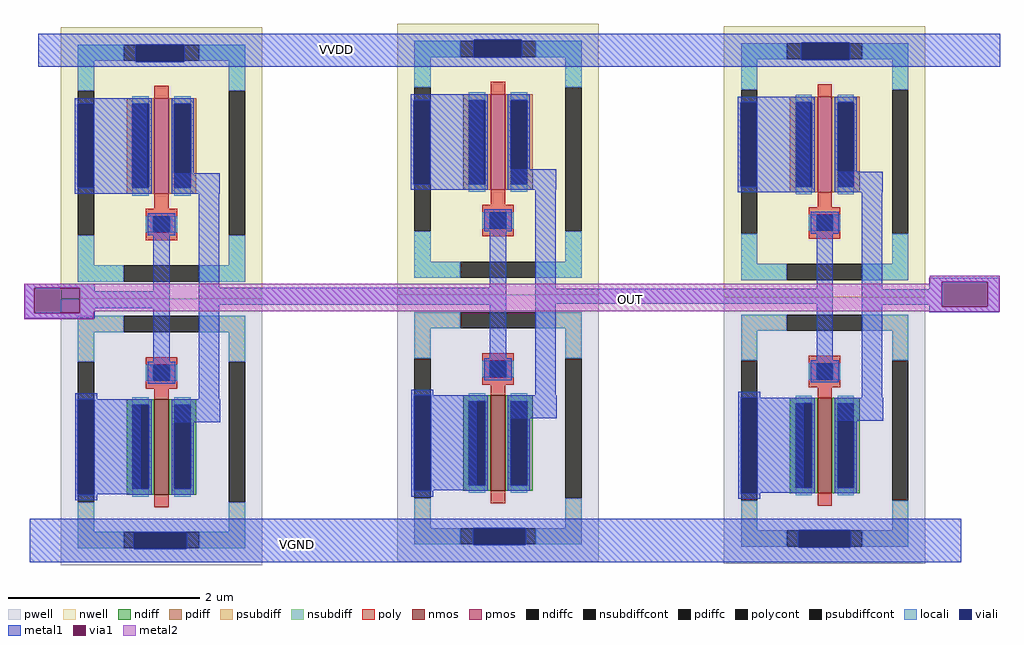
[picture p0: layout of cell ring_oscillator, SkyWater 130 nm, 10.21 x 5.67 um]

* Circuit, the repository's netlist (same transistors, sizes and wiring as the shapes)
** sch_path: /home/deboradmk/oscillator/ring_oscillator.sch
.subckt ring_oscillator vvdd out vgnd
*.PININFO vvdd:B vgnd:B out:O
x1 vvdd out net1 vgnd iinverter
x2 vvdd net1 net2 vgnd iinverter
x3 vvdd net2 out vgnd iinverter
.ends

* expanding   symbol:  /home/deboradmk/project1/iinverter.sym # of pins=4
** sym_path: /home/deboradmk/project1/iinverter.sym
** sch_path: /home/deboradmk/project1/iinverter.sch
.subckt iinverter vvdd in out vgnd
*.PININFO vvdd:I in:I vgnd:I out:O
XM3 out in vgnd vgnd sky130_fd_pr__nfet_01v8 L=0.15 W=1 nf=1 m=1
XM2 out in vvdd vvdd sky130_fd_pr__pfet_01v8 L=0.15 W=1 nf=1 m=1
.ends

.end

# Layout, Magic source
magic
tech sky130A
magscale 1 2
<< viali >>
rect 617 1032 718 1068
rect 1324 1042 1425 1078
rect 2010 1036 2111 1072
rect 613 13 724 47
rect 1323 21 1433 56
rect 2004 16 2114 51
<< metal1 >>
rect 413 1078 2426 1091
rect 413 1068 1324 1078
rect 413 1032 617 1068
rect 718 1042 1324 1068
rect 1425 1072 2426 1078
rect 1425 1042 2010 1072
rect 718 1036 2010 1042
rect 2111 1036 2426 1072
rect 718 1032 2426 1036
rect 413 1022 2426 1032
rect 2278 572 2424 580
rect 385 559 531 567
rect 385 506 404 559
rect 500 552 531 559
rect 500 516 670 552
rect 774 524 1373 559
rect 1482 526 2060 557
rect 2278 556 2304 572
rect 2158 524 2304 556
rect 2278 519 2304 524
rect 2400 519 2424 572
rect 500 506 531 516
rect 2278 508 2424 519
rect 385 495 531 506
rect 395 56 2345 76
rect 395 47 1323 56
rect 395 13 613 47
rect 724 21 1323 47
rect 1433 51 2345 56
rect 1433 21 2004 51
rect 724 16 2004 21
rect 2114 16 2345 51
rect 724 13 2345 16
rect 395 -15 2345 13
<< via1 >>
rect 404 506 500 559
rect 2304 519 2400 572
<< metal2 >>
rect 2279 572 2425 584
rect 2279 568 2304 572
rect 383 559 2304 568
rect 383 506 404 559
rect 500 519 2304 559
rect 2400 519 2425 572
rect 500 510 2425 519
rect 500 506 529 510
rect 2279 509 2425 510
rect 383 493 529 506
use iinverter  iinverter_0 ~/project1
transform 1 0 513 0 1 -31
box -53 9 369 1135
use iinverter  iinverter_1
transform 1 0 1217 0 1 -23
box -53 9 369 1135
use iinverter  iinverter_2
transform 1 0 1901 0 1 -28
box -53 9 369 1135
<< labels >>
flabel metal1 1037 1058 1037 1058 0 FreeSans 320 0 0 0 VVDD
port 0 nsew
flabel metal2 1652 535 1652 535 0 FreeSans 320 0 0 0 OUT
port 1 nsew
flabel metal1 956 22 956 22 0 FreeSans 320 0 0 0 VGND
port 3 nsew
<< end >>

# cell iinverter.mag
magic
tech sky130A
magscale 1 2
<< viali >>
rect -18 799 16 975
rect -17 157 17 357
<< metal1 >>
rect -24 975 127 987
rect -24 799 -18 975
rect 16 799 127 975
rect -24 787 127 799
rect 181 787 280 830
rect 141 395 175 740
rect -23 357 23 369
rect 236 357 279 787
rect -23 157 -17 357
rect 17 158 114 357
rect 181 309 281 357
rect 17 157 23 158
rect -23 145 23 157
use sky130_fd_pr__nfet_01v8_64Z3AY  XM1
transform 1 0 158 0 1 288
box -211 -279 211 279
use sky130_fd_pr__pfet_01v8_LGS3BL  XM2
transform 1 0 158 0 1 851
box -211 -284 211 284
<< labels >>
flabel metal1 45 880 49 880 0 FreeSans 160 0 0 0 VVDD
port 0 nsew
flabel metal1 45 261 49 261 0 FreeSans 160 0 0 0 VGND
port 1 nsew
flabel metal1 156 561 160 561 0 FreeSans 160 0 0 0 IN
port 2 nsew
flabel metal1 260 558 264 558 0 FreeSans 160 0 0 0 OUT
port 3 nsew
<< end >>

# cell sky130_fd_pr__nfet_01v8_64Z3AY: kit device sky130_fd_pr__nfet_01v8, w 1.0 l 0.15 m 1 nf 1 diffcov 100 polycov 100 guard 1 glc 1 grc 1 gtc 1 gbc 1 tbcov 100 rlcov 100 topc 1 botc 0 poverlap 0 doverlap 1 lmin 0.15 wmin 0.42 compatible {sky130_fd_pr__nfet_01v8 sky130_fd_pr__nfet_01v8_lvt sky130_fd_bs_flash__special_sonosfet_star sky130_fd_pr__nfet_g5v0d10v5 sky130_fd_pr__nfet_05v0_nvt sky130_fd_pr__nfet_03v3_nvt} full_metal 1 viasrc 100 viadrn 100 viagate 100 viagb 0 viagr 0 viagl 0 viagt 0

# cell sky130_fd_pr__pfet_01v8_LGS3BL: kit device sky130_fd_pr__pfet_01v8, w 1.0 l 0.15 m 1 nf 1 diffcov 100 polycov 100 guard 1 glc 1 grc 1 gtc 1 gbc 1 tbcov 100 rlcov 100 topc 0 botc 1 poverlap 0 doverlap 1 lmin 0.15 wmin 0.42 compatible {sky130_fd_pr__pfet_01v8 sky130_fd_pr__pfet_01v8_lvt sky130_fd_pr__pfet_01v8_hvt sky130_fd_pr__pfet_g5v0d10v5} full_metal 1 viasrc 100 viadrn 100 viagate 100 viagb 0 viagr 0 viagl 0 viagt 0
